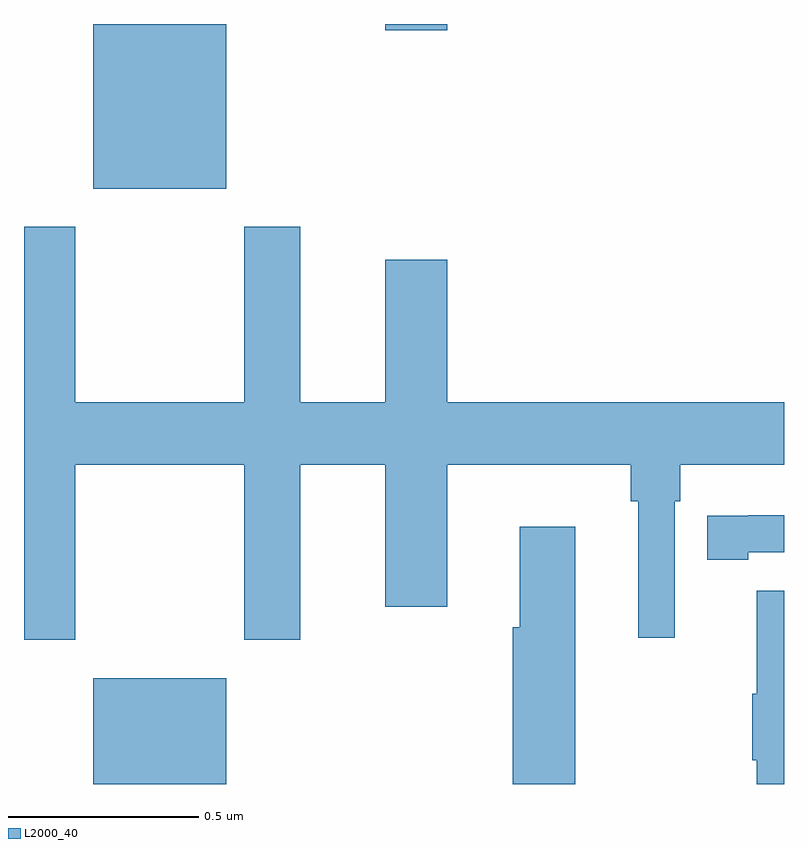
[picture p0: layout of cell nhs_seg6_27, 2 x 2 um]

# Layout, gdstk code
import gdstk
lib = gdstk.Library(unit=1e-6, precision=1e-09)
def R(c, l, rs):  # rectangles x0, y0, x1, y1
    for r in rs: c.add(gdstk.rectangle(r[:2], r[2:], *l))
def P(c, l, *ps):  # polygons
    for p in ps: c.add(gdstk.Polygon(p, *l))
L2000_40 = (2000, 40)

nhs_seg6_27 = lib.new_cell('nhs_seg6_27')
R(nhs_seg6_27, L2000_40, [(111.182,942.5,111.532,942.778), (111.182,944.066,111.532,944.5), (111.95,944.484,112.114,944.5)])
P(nhs_seg6_27, L2000_40, [(111.135,943.34),(111.58,943.34),(111.58,942.879),(111.727,942.879),(111.727,943.34),(111.95,943.34),(111.95,942.966),(112.114,942.966),(112.114,943.34),(112.597,943.34),(112.597,943.244),(112.616,943.244),(112.616,942.885),(112.713,942.885),(112.713,943.244),(112.727,943.244),(112.727,943.34),(113,943.34),(113,943.504),(112.114,943.504),(112.114,943.879),(111.95,943.879),(111.95,943.504),(111.727,943.504),(111.727,943.966),(111.58,943.966),(111.58,943.504),(111.135,943.504),(111.135,943.966),(111,943.966),(111,942.879),(111.135,942.879)],
  [(112.906,943.11),(113,943.11),(113,943.207),(112.906,943.207),(112.906,943.206),(112.798,943.206),(112.798,943.09),(112.906,943.09)],
  [(112.45,943.177),(112.304,943.177),(112.304,942.913),(112.286,942.913),(112.286,942.5),(112.45,942.5)],
  [(113,943.009),(112.928,943.009),(112.928,942.737),(112.917,942.737),(112.917,942.563),(112.928,942.563),(112.928,942.5),(113,942.5)])

lib.write_gds('nhs_seg6_27.gds')
